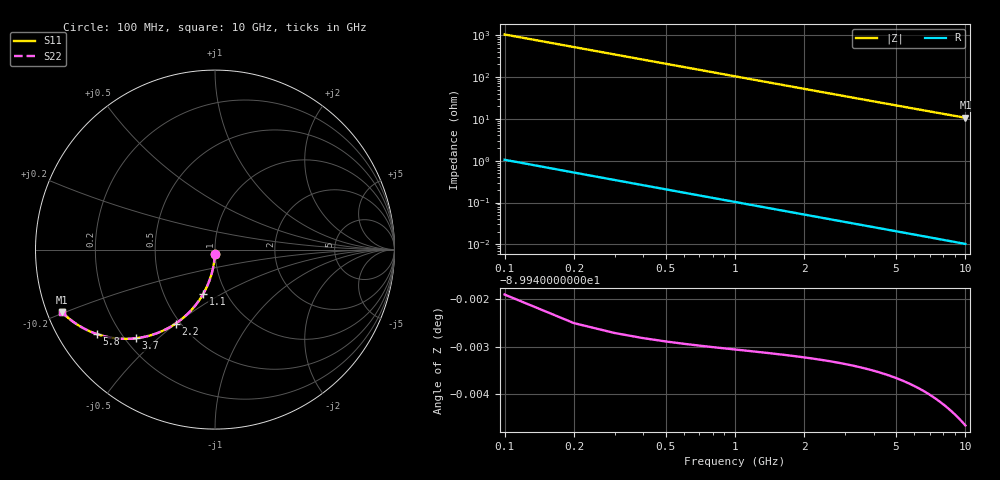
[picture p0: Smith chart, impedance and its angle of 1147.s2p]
# Hz S RI R 50.00
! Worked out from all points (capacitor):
!   100 points, 100 MHz to 10 GHz, reference 50 ohm
!   read as one part in shunt: C = 1.53 pF near 100 MHz
!   lowest |Z| = 10.6 ohm at 10 GHz (marker M1)
!   S11 on the Smith chart (normalised r, x): 100 MHz: 1.00, -0.05; 1.1 GHz: 0.78, -0.41; 2.2 GHz: 0.47, -0.50; 3.7 GHz: 0.24, -0.43; 5.8 GHz: 0.12, -0.32; 10 GHz: 0.04, -0.20
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1e8  -0.000593 -0.024  0.9994 -0.0241  0.9994 -0.0241  -0.000593 -0.024
2e8  -0.00235 -0.048  0.9976 -0.0482  0.9976 -0.0482  -0.00235 -0.048
3e8  -0.00526 -0.0717  0.9947 -0.0721  0.9947 -0.0721  -0.00526 -0.0717
4e8  -0.00928 -0.0953  0.9907 -0.0957  0.9907 -0.0957  -0.00928 -0.0953
5e8  -0.0144 -0.1184  0.9856 -0.119  0.9856 -0.119  -0.0144 -0.1184
6e8  -0.0206 -0.1412  0.9794 -0.1419  0.9794 -0.1419  -0.0206 -0.1412
7e8  -0.0278 -0.1635  0.9722 -0.1643  0.9722 -0.1643  -0.0278 -0.1635
9e8  -0.045 -0.2064  0.9549 -0.2074  0.9549 -0.2074  -0.045 -0.2064
1.1e9  -0.0657 -0.2468  0.9342 -0.248  0.9342 -0.248  -0.0657 -0.2468
1.4e9  -0.1022 -0.3016  0.8978 -0.3032  0.8978 -0.3032  -0.1022 -0.3016
1.8e9  -0.1581 -0.3634  0.8419 -0.3653  0.8419 -0.3653  -0.1581 -0.3634
2.2e9  -0.2188 -0.4117  0.7812 -0.4142  0.7812 -0.4142  -0.2188 -0.4117
2.8e9  -0.3116 -0.4611  0.6884 -0.4642  0.6884 -0.4642  -0.3116 -0.4611
3.4e9  -0.3998 -0.4875  0.6002 -0.4912  0.6002 -0.4912  -0.3998 -0.4875
3.7e9  -0.4407 -0.4939  0.5593 -0.498  0.5593 -0.498  -0.4407 -0.4939
4.4e9  -0.5265 -0.4963  0.4735 -0.5012  0.4735 -0.5012  -0.5265 -0.4963
5.1e9  -0.5986 -0.4868  0.4014 -0.4925  0.4014 -0.4925  -0.5986 -0.4868
5.8e9  -0.6581 -0.4706  0.3418 -0.4771  0.3418 -0.4771  -0.6581 -0.4706
6.7e9  -0.7194 -0.445  0.2805 -0.4525  0.2805 -0.4525  -0.7194 -0.445
7.5e9  -0.7624 -0.4209  0.2375 -0.4293  0.2375 -0.4293  -0.7624 -0.4209
8.4e9  -0.8008 -0.3941  0.1991 -0.4036  0.1991 -0.4036  -0.8008 -0.3941
1e10  -0.8505 -0.3503  0.1494 -0.3617  0.1494 -0.3617  -0.8505 -0.3503
